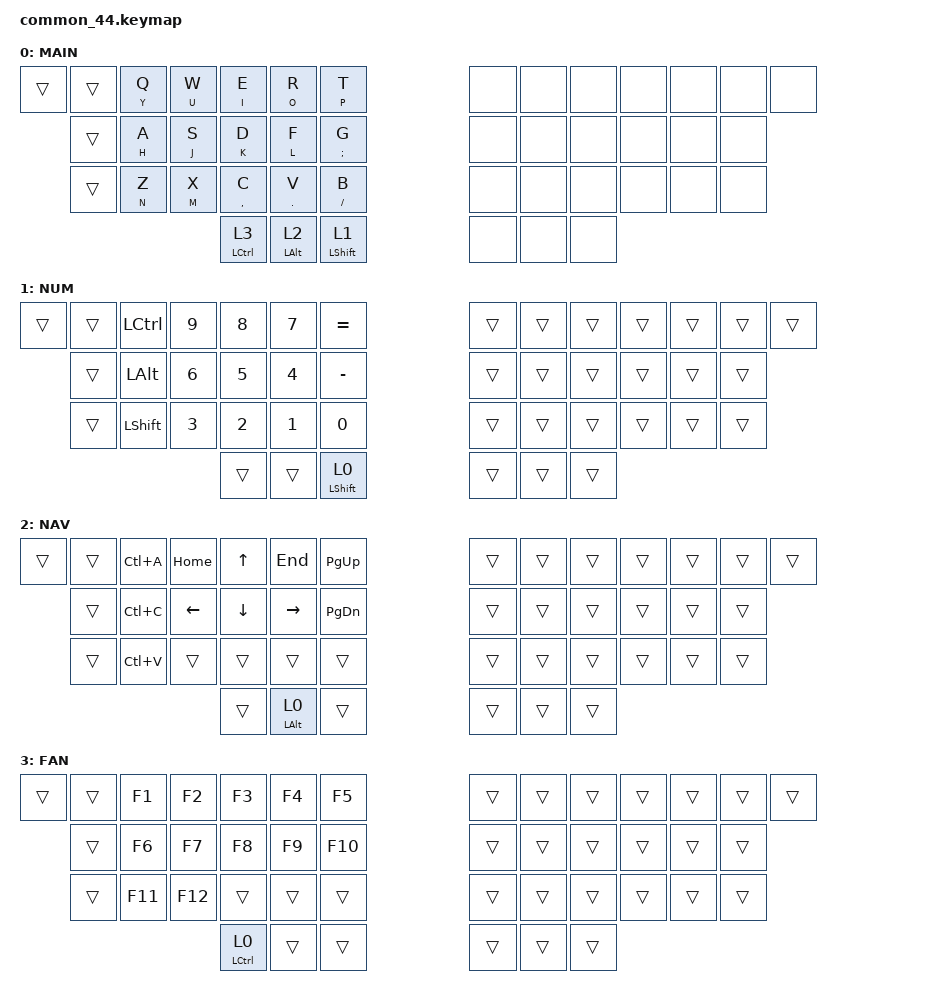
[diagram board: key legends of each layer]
/*
 * Copyright (c) 2020 The ZMK Contributors
 *
 * SPDX-License-Identifier: MIT
 */

#include <behaviors.dtsi>
#include <dt-bindings/zmk/bt.h>
#include <dt-bindings/zmk/keys.h>

#define DEF 0
#define LWR 1
#define RSE 2
#define ADJ 3

&lt { quick-tap-ms = <250>; };

&mt {
    quick-tap-ms = <100>;
    tapping-term-ms = <150>;
};

/ {
    macros {
        Lock: Lock {
            compatible = "zmk,behavior-macro";
            label = "LOCK";
            #binding-cells = <0>;
            bindings =
                <&macro_press>,
                <&kp LEFT_GUI>,
                <&macro_tap>,
                <&kp L>,
                <&macro_release>,
                <&kp LEFT_GUI>;
        };

        lang: lang {
            compatible = "zmk,behavior-macro";
            label = "LANG";
            #binding-cells = <0>;
            bindings =
                <&macro_press>,
                <&kp LEFT_GUI>,
                <&macro_tap>,
                <&kp SPACE>,
                <&macro_release>,
                <&kp LEFT_GUI>;
        };
    };

    behaviors {
        layer_kay: layer_kay {
            compatible = "zmk,behavior-hold-tap";
            label = "LAYER_KAY";
            #binding-cells = <2>;
            bindings = <&kp>, <&to>;

            tapping-term-ms = <200>;
        };
    };

    conditional_layers { compatible = "zmk,conditional-layers"; };

    combos {
        compatible = "zmk,combos";

        backspase {
            bindings = <&kp BACKSPACE>;
            key-positions = <6 5>;
        };

        return {
            bindings = <&kp RET>;
            key-positions = <19 18>;
        };

        delete {
            bindings = <&kp DEL>;
            key-positions = <4 5>;
        };

        space {
            bindings = <&kp SPACE>;
            key-positions = <3 4>;
        };

        ble {
            bindings = <&bt BT_NXT>;
            key-positions = <6 19>;
        };

        rst {
            bindings = <&bootloader>;
            key-positions = <2 27 29>;
        };

        esc {
            bindings = <&kp ESCAPE>;
            key-positions = <2 3>;
        };

        tab {
            bindings = <&kp TAB>;
            key-positions = <15 16>;
        };

        lb {
            bindings = <&kp LEFT_BRACKET>;
            key-positions = <5 19>;
            layers = <0>;
        };

        rb {
            bindings = <&kp RIGHT_BRACKET>;
            key-positions = <18 31>;
            layers = <0>;
        };

        back_slash {
            bindings = <&kp NON_US_BACKSLASH>;
            key-positions = <4 18>;
            layers = <0>;
        };

        sqt {
            bindings = <&kp SQT>;
            key-positions = <17 30>;
            layers = <0>;
        };

        grave {
            bindings = <&kp GRAVE>;
            key-positions = <3 17>;
            layers = <0>;
        };
    };

    keymap {
        compatible = "zmk,keymap";

        default_layer {
            label = "MAIN";

            // -----------------------------------------------------------------------------------------
            // |  GUI |   ~  |  Q  |  W  |  E  |  R  |  T  |   |  Y  |  U   |  I  |  O  |  P  |  [   | GUI/] |
            //        | CTRL |  A  |  S  |  D  |  F  |  G  |   |  H  |  J   |  K  |  L  |  ;  |CTRL/'|
            //        | LALT |  Z  |  X  |  C  |  V  |  B  |   |  N  |  M   |  ,  |  .  |  /  | RALT |
            //                           | RSE | SPC | LWR |   | LWR | BKSP | RSE |

            bindings = <
&trans  &trans  &mt Y Q  &mt U W  &mt I E             &mt O R            &mt P T               &none  &none  &none  &none  &none  &none  &none
        &trans  &mt H A  &mt J S  &mt K D             &mt L F            &mt SEMICOLON G       &none  &none  &none  &none  &none  &none
        &trans  &mt N Z  &mt M X  &mt COMMA C         &mt DOT V          &mt SLASH B           &none  &none  &none  &none  &none  &none
                                  &layer_kay LCTRL 3  &layer_kay LALT 2  &layer_kay LSHFT 1    &none  &none  &none
            >;
        };

        namber_layer {
            bindings = <
&trans  &trans  &kp LCTRL  &kp N9  &kp N8  &kp N7  &kp EQUAL             &trans  &trans  &trans  &trans  &trans  &trans  &trans
        &trans  &kp LALT   &kp N6  &kp N5  &kp N4  &kp MINUS             &trans  &trans  &trans  &trans  &trans  &trans
        &trans  &kp LSHFT  &kp N3  &kp N2  &kp N1  &kp N0                &trans  &trans  &trans  &trans  &trans  &trans
                                   &trans  &trans  &layer_kay LSHFT 0    &trans  &trans  &trans
            >;

            label = "NUM";
        };

        navigation_layer {
            bindings = <
&trans  &trans  &kp LC(A)  &kp HOME  &kp UP_ARROW  &kp END            &kp PG_UP    &trans  &trans  &trans  &trans  &trans  &trans  &trans
        &trans  &kp LC(C)  &kp LEFT  &kp DOWN      &kp RIGHT          &kp PG_DN    &trans  &trans  &trans  &trans  &trans  &trans
        &trans  &kp LC(V)  &trans    &trans        &trans             &trans       &trans  &trans  &trans  &trans  &trans  &trans
                                     &trans        &layer_kay LALT 0  &trans       &trans  &trans  &trans
            >;

            label = "NAV";
        };

        f_layer {
            bindings = <
&trans  &trans  &kp F1   &kp F2   &kp F3              &kp F4  &kp F5     &trans  &trans  &trans  &trans  &trans  &trans  &trans
        &trans  &kp F6   &kp F7   &kp F8              &kp F9  &kp F10    &trans  &trans  &trans  &trans  &trans  &trans
        &trans  &kp F11  &kp F12  &trans              &trans  &trans     &trans  &trans  &trans  &trans  &trans  &trans
                                  &layer_kay LCTRL 0  &trans  &trans     &trans  &trans  &trans
            >;

            label = "FAN";
        };
    };
};
